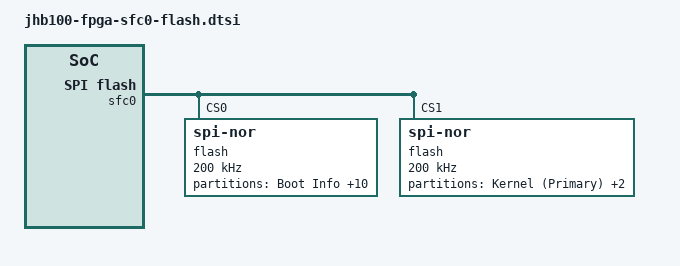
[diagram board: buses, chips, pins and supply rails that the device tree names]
// SPDX-License-Identifier: GPL-2.0 OR MIT
/*
 * Copyright (c) 2024 StarFive Technology Co., Ltd.
 */

&sfc0 {
	status = "okay";
	clocks = <&fpga_12mhz_clk>;
	pinctrl-names = "default";
	pinctrl-0 = <&sfc0_pins>;

	flash@0 {
		compatible = "jedec,spi-nor";
		reg = <0>;
		spi-max-frequency = <200000>;
		spi-tx-bus-width = <4>;
		spi-rx-bus-width = <4>;

		partitions {
			compatible = "fixed-partitions";
			#address-cells = <1>;
			#size-cells = <1>;

			partition@0 {
				label = "Boot Info";
				reg = <0x0 0x10000>;
			};

			partition@1 {
				label = "L0 firmware (Primary)";
				reg = <0x10000 0x80000>;
			};

			partition@2 {
				label = "L1 firmware (Primary)";
				reg = <0x90000 0x80000>;
			};

			partition@3 {
				label = "U-Boot SPL (Primary)";
				reg = <0x110000 0x80000>;
			};

			partition@4 {
				label = "U-Boot environment";
				reg = <0x190000 0x80000>;
			};

			partition@5 {
				label = "U-Boot (Primary)";
				reg = <0x210000 0x200000>;
			};

			partition@6 {
				label = "L0 firmware (Secondary)";
				reg = <0x410000 0x80000>;
			};

			partition@7 {
				label = "L1 firmware (Secondary)";
				reg = <0x490000 0x80000>;
			};

			partition@8 {
				label = "U-Boot SPL (Secondary)";
				reg = <0x510000 0x80000>;
			};

			partition@9 {
				label = "U-Boot (Secondary)";
				reg = <0x590000 0x200000>;
			};

			partition@10 {
				label = "Data";
				reg = <0x790000 0x870000>;
			};
		};
	};

	flash@1 {
		compatible = "jedec,spi-nor";
		reg = <1>;
		spi-max-frequency = <200000>;
		spi-tx-bus-width = <4>;
		spi-rx-bus-width = <4>;

		partitions {
			compatible = "fixed-partitions";
			#address-cells = <1>;
			#size-cells = <1>;

			partition@0 {
				label = "Kernel (Primary)";
				reg = <0x0 0xd00000>;
			};

			partition@1 {
				label = "Kernel (Secondary)";
				reg = <0xd00000 0xd00000>;
			};

			partition@2 {
				label = "Data";
				reg = <0x1a00000 0x6600000>;
			};
		};
	};
};
